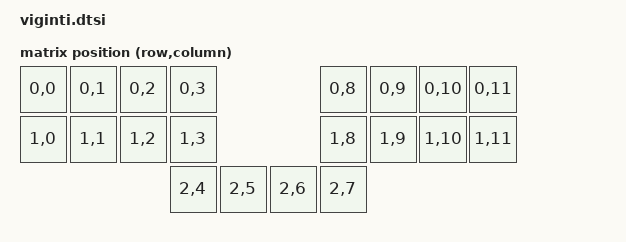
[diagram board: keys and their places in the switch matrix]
#include <dt-bindings/zmk/matrix_transform.h>
#include "viginti-layouts.dtsi"

/ {
    chosen {
        zmk,kscan = &kscan0;
        zmk,physical-layout = &viginti_physical_layout;
    };

    /* battery monitor */
    vbatt: vbatt {
        compatible = "zmk,battery-nrf-vddh";
    };

    default_transform: keymap_transform_0 {
        compatible = "zmk,matrix-transform";
        columns = <12>;
        rows = <3>;

        map = <
            RC(0,0)  RC(0,1)  RC(0,2)  RC(0,3)                    RC(0,8)  RC(0,9)  RC(0,10)  RC(0,11)
            RC(1,0)  RC(1,1)  RC(1,2)  RC(1,3)                    RC(1,8)  RC(1,9)  RC(1,10)  RC(1,11)
                                   RC(2,4)  RC(2,5)      RC(2,6)  RC(2,7)
        >;
    };

    kscan0: kscan {
        wakeup-source;
        diode-direction = "col2row";
    };
};
